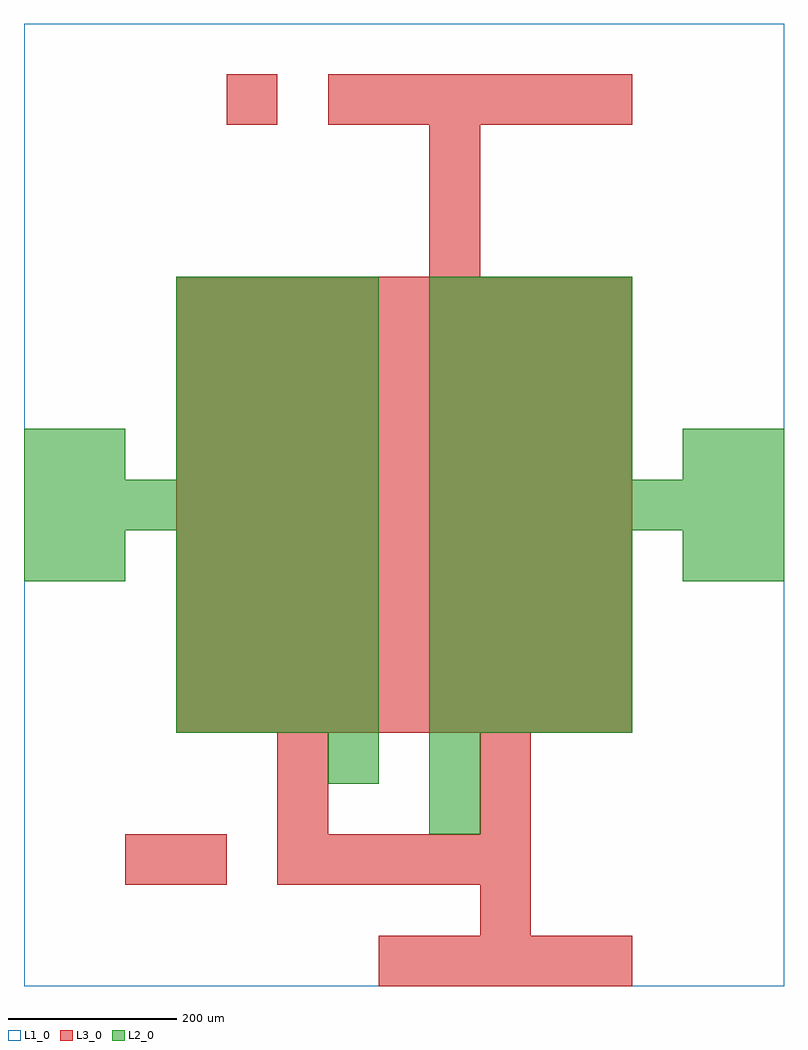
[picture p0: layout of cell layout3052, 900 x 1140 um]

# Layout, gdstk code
import gdstk
lib = gdstk.Library(unit=1e-6, precision=1e-09)
def R(c, l, rs):  # rectangles x0, y0, x1, y1
    for r in rs: c.add(gdstk.rectangle(r[:2], r[2:], *l))
def A(c, l, x, y, w, h, nx, ny, dx, dy):  # array of equal rectangles
    R(c, l, [(x+i*dx, y+j*dy, x+i*dx+w, y+j*dy+h) for i in range(nx) for j in range(ny)])
L1_0 = (1, 0)
L2_0 = (2, 0)
L3_0 = (3, 0)

layout3052 = lib.new_cell('layout3052')
R(layout3052, L1_0, [(0,0,900,1140)])
A(layout3052, L2_0, 180, 300, 60, 60, 4, 4, 60, 60)
A(layout3052, L2_0, 480, 300, 60, 60, 4, 4, 60, 60)
A(layout3052, L2_0, 0, 540, 60, 60, 7, 1, 60, 0)
A(layout3052, L2_0, 480, 540, 60, 60, 7, 1, 60, 0)
A(layout3052, L2_0, 180, 600, 60, 60, 4, 4, 60, 60)
A(layout3052, L2_0, 480, 600, 60, 60, 4, 4, 60, 60)
R(layout3052, L2_0, [(480,180,540,240), (360,240,420,300), (480,240,540,300), (0,480,60,540), (60,480,120,540), (780,480,840,540), (840,480,900,540), (0,600,60,660), (60,600,120,660), (780,600,840,660), (840,600,900,660)])
A(layout3052, L3_0, 420, 0, 60, 60, 5, 1, 60, 0)
A(layout3052, L3_0, 300, 120, 60, 60, 5, 1, 60, 0)
A(layout3052, L3_0, 180, 300, 60, 60, 9, 9, 60, 60)
A(layout3052, L3_0, 480, 840, 60, 60, 1, 3, 0, 60)
A(layout3052, L3_0, 360, 1020, 60, 60, 6, 1, 60, 0)
R(layout3052, L3_0, [(540,60,600,120), (120,120,180,180), (180,120,240,180), (300,180,360,240), (540,180,600,240), (300,240,360,300), (540,240,600,300), (240,1020,300,1080)])

lib.write_gds('layout3052.gds')
